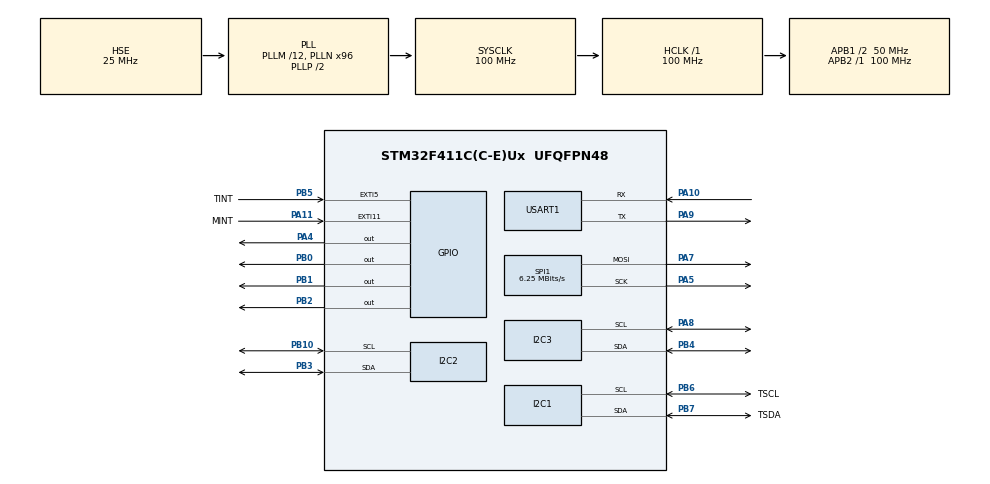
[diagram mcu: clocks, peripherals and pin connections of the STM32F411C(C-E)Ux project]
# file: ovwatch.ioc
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I2C1.I2C_Mode=I2C_Fast
I2C2.I2C_Mode=I2C_Fast
I2C3.I2C_Mode=I2C_Fast
Mcu.Family=STM32F4
Mcu.Name=STM32F411C(C-E)Ux
Mcu.Package=UFQFPN48
NVIC.EXTI15_10_IRQn=true\:0\:0\:false\:false\:true\:true\:true\:true
NVIC.EXTI9_5_IRQn=true\:0\:0\:false\:false\:true\:true\:true\:true
NVIC.PriorityGroup=NVIC_PRIORITYGROUP_4
PA10.Mode=Asynchronous
PA10.Signal=USART1_RX
PA11.GPIO_Label=MINT
PA11.GPIO_ModeDefaultEXTI=GPIO_MODE_IT_FALLING
PA11.GPIO_PuPd=GPIO_NOPULL
PA11.Signal=GPXTI11
PA13.Mode=Serial_Wire
PA13.Signal=SYS_JTMS-SWDIO
PA14.Mode=Serial_Wire
PA14.Signal=SYS_JTCK-SWCLK
PA4.GPIO_ModeDefaultOutputPP=GPIO_MODE_OUTPUT_PP
PA4.GPIO_PuPd=GPIO_PULLUP
PA4.GPIO_Speed=GPIO_SPEED_FREQ_HIGH
PA4.PinState=GPIO_PIN_SET
PA4.Signal=GPIO_Output
PA5.Mode=TX_Only_Simplex_Unidirect_Master
PA5.Signal=SPI1_SCK
PA7.Mode=TX_Only_Simplex_Unidirect_Master
PA7.Signal=SPI1_MOSI
PA8.GPIO_Pu=GPIO_PULLUP
PA8.Mode=I2C
PA8.Signal=I2C3_SCL
PA9.Mode=Asynchronous
PA9.Signal=USART1_TX
PB0.GPIO_ModeDefaultOutputPP=GPIO_MODE_OUTPUT_PP
PB0.GPIO_PuPd=GPIO_PULLUP
PB0.GPIO_Speed=GPIO_SPEED_FREQ_HIGH
PB0.PinState=GPIO_PIN_SET
PB0.Signal=GPIO_Output
PB1.GPIO_ModeDefaultOutputPP=GPIO_MODE_OUTPUT_PP
PB1.GPIO_PuPd=GPIO_PULLUP
PB1.GPIO_Speed=GPIO_SPEED_FREQ_HIGH
PB1.PinState=GPIO_PIN_SET
PB1.Signal=GPIO_Output
PB10.Mode=I2C
PB10.Signal=I2C2_SCL
PB2.GPIO_ModeDefaultOutputPP=GPIO_MODE_OUTPUT_PP
PB2.GPIO_PuPd=GPIO_PULLUP
PB2.GPIO_Speed=GPIO_SPEED_FREQ_HIGH
PB2.PinState=GPIO_PIN_SET
PB2.Signal=GPIO_Output
PB3.Mode=I2C
PB3.Signal=I2C2_SDA
PB4.GPIO_Pu=GPIO_PULLUP
PB4.Mode=I2C
PB4.Signal=I2C3_SDA
PB5.GPIO_Label=TINT
PB5.GPIO_PuPd=GPIO_PULLUP
PB5.Signal=GPXTI5
PB6.GPIO_Label=TSCL
PB6.GPIO_Pu=GPIO_PULLUP
PB6.Mode=I2C
PB6.Signal=I2C1_SCL
PB7.GPIO_Label=TSDA
PB7.GPIO_Pu=GPIO_PULLUP
PB7.Mode=I2C
PB7.Signal=I2C1_SDA
PC14-OSC32_IN.Mode=LSE-External-Oscillator
PC14-OSC32_IN.Signal=RCC_OSC32_IN
PC15-OSC32_OUT.Mode=LSE-External-Oscillator
PC15-OSC32_OUT.Signal=RCC_OSC32_OUT
PH0\ -\ OSC_IN.Mode=HSE-External-Oscillator
PH0\ -\ OSC_IN.Signal=RCC_OSC_IN
PH1\ -\ OSC_OUT.Mode=HSE-External-Oscillator
PH1\ -\ OSC_OUT.Signal=RCC_OSC_OUT
ProjectManager.HeapSize=0x200
ProjectManager.StackSize=0x400
ProjectManager.TargetToolchain=MDK-ARM V5.32
RCC.48MHZClocksFreq_Value=50000000
RCC.AHBFreq_Value=100000000
RCC.APB1CLKDivider=RCC_HCLK_DIV2
RCC.APB1Freq_Value=50000000
RCC.APB1TimFreq_Value=100000000
RCC.APB2Freq_Value=100000000
RCC.APB2TimFreq_Value=100000000
RCC.CortexFreq_Value=100000000
RCC.HCLKFreq_Value=100000000
RCC.HSE_VALUE=25000000
RCC.HSI_VALUE=16000000
RCC.PLLM=12
RCC.PLLN=96
RCC.PLLSourceVirtual=RCC_PLLSOURCE_HSE
RCC.RCC_RTC_Clock_Source=RCC_RTCCLKSOURCE_LSE
RCC.RCC_RTC_Clock_SourceVirtual=RCC_RTCCLKSOURCE_LSE
RCC.SYSCLKFreq_VALUE=100000000
RCC.SYSCLKSource=RCC_SYSCLKSOURCE_PLLCLK
RCC.VCOOutputFreq_Value=200000000
RTC.Format=RTC_FORMAT_BIN
RTC.Hours=0
RTC.StoreOperation=RTC_STOREOPERATION_RESET
SPI1.BaudRatePrescaler=SPI_BAUDRATEPRESCALER_16
SPI1.CalculateBaudRate=6.25 MBits/s
SPI1.Direction=SPI_DIRECTION_2LINES
SPI1.Mode=SPI_MODE_MASTER
SPI1.VirtualType=VM_MASTER
USART1.VirtualMode=VM_ASYNC
VP_RTC_VS_RTC_Activate.Mode=RTC_Enabled
VP_RTC_VS_RTC_Calendar.Mode=RTC_Calendar
VP_RTC_VS_RTC_WakeUp_intern.Mode=WakeUp
board=custom

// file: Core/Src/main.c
/* USER CODE BEGIN Header */
/**
  ******************************************************************************
  * @file           : main.c
  * @brief          : Main program body
  ******************************************************************************
  * @attention
  *
  * Copyright (c) 2026 STMicroelectronics.
  * All rights reserved.
  *
  * This software is licensed under terms that can be found in the LICENSE file
  * in the root directory of this software component.
  * If no LICENSE file comes with this software, it is provided AS-IS.
  *
  ******************************************************************************
  */
/* USER CODE END Header */
#include "main.h"
#include "i2c.h"
#include "rtc.h"
#include "spi.h"
#include "usart.h"
#include "gpio.h"

/* USER CODE BEGIN Includes */
#include "st7789.h"
#include "MYRTC.h"
#include "touch.h"
#include "ui.h"
#include "mpu6050.h"
#include "MAX30102.h"
#include "blood.h"
/* USER CODE END Includes */

/* USER CODE BEGIN PTD */
	CST816T_Touch_t tp;
	uint8_t touch_Flag=0;
	extern UI_Page_t ui_face;
  int16_t AX,AY,AZ;
  int16_t GX,GY,GZ;
  extern  uint32_t last_active_tick;
  extern  uint8_t screen_on;
  uint32_t last_ui_tick;
  uint8_t FIFO_Flag=0;//满15个触发
/* USER CODE END PTD */

void SystemClock_Config(void);

/* USER CODE BEGIN 0 */
void HAL_GPIO_EXTI_Callback(uint16_t GPIO_Pin)
{
	if(GPIO_Pin==TINT_Pin)
	{
		touch_Flag=1;
	}
	else if(GPIO_Pin==MINT_Pin)
	{
		Blood_Collect_Data_ISR();
		printf(".\r\n");
	}
}
/* USER CODE END 0 */

int main(void)
{

  /* MCU Configuration--------------------------------------------------------*/

  /* Reset of all peripherals, Initializes the Flash interface and the Systick. */
  HAL_Init();

  /* Configure the system clock */
  SystemClock_Config();

  /* Initialize all configured peripherals */
  MX_GPIO_Init();
  MX_SPI1_Init();
  MX_RTC_Init();
  MX_I2C1_Init();
  MX_USART1_UART_Init();
  MX_I2C2_Init();
  MX_I2C3_Init();
  /* USER CODE BEGIN 2 */
  ST7789_Init();
  mpu6050_Init();
  ui_ShowPage(UI_PAGE_HOME);
	Blood_App_Init();
  /* USER CODE END 2 */

  /* Infinite loop */
  /* USER CODE BEGIN WHILE */
  while (1)
  {
	  Blood_Process_Task();

	if(touch_Flag == 1)
	{
    uint8_t event;
    touch_Flag = 0;
    Touch_Scan(&tp);

	if(screen_on == 0)
  {
      UI_ScreenOn();
      UI_ActiveUpdate();
      continue;
  }

   UI_ActiveUpdate();

    if(ui_face == UI_PAGE_DRAW)
    {
        ui_DrawPageHandle(&tp);
    }
    else
    {
        event = ui_SlideHandle(&tp);

        if(event == UI_EVENT_CLICK)
        {
            ui_touchhandle(tp.x, tp.y);
        }
        else if(event == UI_EVENT_SLIDE_UP)
        {
            if(ui_face == UI_PAGE_HOME)
                ui_ShowPage(UI_PAGE_MENU);
        }
        else if(event == UI_EVENT_SLIDE_DOWN)
        {
            if(ui_face == UI_PAGE_MENU)
                ui_ShowPage(UI_PAGE_HOME);
        }
        else if(event == UI_EVENT_SLIDE_RIGHT)
        {
            if(ui_face != UI_PAGE_HOME && ui_face != UI_PAGE_MENU)
                ui_ShowPage(UI_PAGE_MENU);
        }
    }
}
  if(screen_on == 1)
    {
        if(HAL_GetTick() - last_ui_tick >= 200)
        {
            last_ui_tick = HAL_GetTick();
            ui_UpState();
        }

        if(HAL_GetTick() - last_active_tick > 10000)
        {
            UI_ScreenOff();
        }
    }
 if(mpu6050_Test())
 {
  UI_ScreenOn();
  UI_ActiveUpdate();
 }

    /* USER CODE END WHILE */

  }
}

void SystemClock_Config(void)
{
  RCC_OscInitTypeDef RCC_OscInitStruct = {0};
  RCC_ClkInitTypeDef RCC_ClkInitStruct = {0};

  /** Configure the main internal regulator output voltage
  */
  __HAL_RCC_PWR_CLK_ENABLE();
  __HAL_PWR_VOLTAGESCALING_CONFIG(PWR_REGULATOR_VOLTAGE_SCALE1);

  /** Initializes the RCC Oscillators according to the specified parameters
  * in the RCC_OscInitTypeDef structure.
  */
  RCC_OscInitStruct.OscillatorType = RCC_OSCILLATORTYPE_HSE|RCC_OSCILLATORTYPE_LSE;
  RCC_OscInitStruct.HSEState = RCC_HSE_ON;
  RCC_OscInitStruct.LSEState = RCC_LSE_ON;
  RCC_OscInitStruct.PLL.PLLState = RCC_PLL_ON;
  RCC_OscInitStruct.PLL.PLLSource = RCC_PLLSOURCE_HSE;
  RCC_OscInitStruct.PLL.PLLM = 12;
  RCC_OscInitStruct.PLL.PLLN = 96;
  RCC_OscInitStruct.PLL.PLLP = RCC_PLLP_DIV2;
  RCC_OscInitStruct.PLL.PLLQ = 4;
  if (HAL_RCC_OscConfig(&RCC_OscInitStruct) != HAL_OK)
  {
    Error_Handler();
  }

  /** Initializes the CPU, AHB and APB buses clocks
  */
  RCC_ClkInitStruct.ClockType = RCC_CLOCKTYPE_HCLK|RCC_CLOCKTYPE_SYSCLK
                              |RCC_CLOCKTYPE_PCLK1|RCC_CLOCKTYPE_PCLK2;
  RCC_ClkInitStruct.SYSCLKSource = RCC_SYSCLKSOURCE_PLLCLK;
  RCC_ClkInitStruct.AHBCLKDivider = RCC_SYSCLK_DIV1;
  RCC_ClkInitStruct.APB1CLKDivider = RCC_HCLK_DIV2;
  RCC_ClkInitStruct.APB2CLKDivider = RCC_HCLK_DIV1;

  if (HAL_RCC_ClockConfig(&RCC_ClkInitStruct, FLASH_LATENCY_3) != HAL_OK)
  {
    Error_Handler();
  }
}

void Error_Handler(void)
{
  __disable_irq();
  while (1)
  {
  }
}
